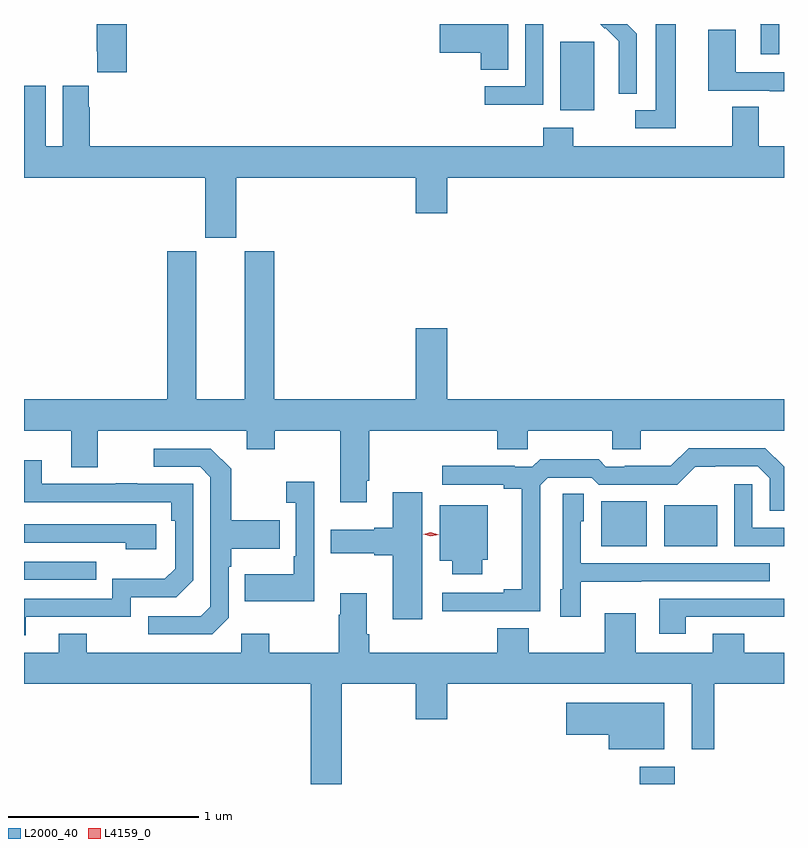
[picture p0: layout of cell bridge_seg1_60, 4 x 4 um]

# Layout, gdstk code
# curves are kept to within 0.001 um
import gdstk
lib = gdstk.Library(unit=1e-6, precision=1e-09)
def R(c, l, rs):  # rectangles x0, y0, x1, y1
    for r in rs: c.add(gdstk.rectangle(r[:2], r[2:], *l))
def P(c, l, *ps):  # polygons
    for p in ps: c.add(gdstk.Polygon(p, *l))
L2000_40 = (2000, 40)
L4159_0 = (4159, 0)

bridge_seg1_60 = lib.new_cell('bridge_seg1_60')
R(bridge_seg1_60, L2000_40, [(597.753,557.864,597.937,557.956), (594.513,558.939,594.893,559.035), (597.551,559.115,597.79,559.351), (597.884,559.115,598.162,559.33), (597.335,561.41,597.514,561.771)])
P(bridge_seg1_60, L2000_40, [(595.055,561.864),(594.895,561.864),(594.895,561.721),(594.899,561.721),(594.899,561.609),(595.055,561.609)],
  [(597.246,561.864),(597.15,561.864),(597.15,561.537),(596.937,561.537),(596.937,561.439),(597.246,561.439)],
  [(597.738,561.814),(597.688,561.864),(597.546,561.864),(597.57,561.84),(597.573,561.843),(597.644,561.773),(597.644,561.65),(597.642,561.65),(597.642,561.496),(597.738,561.496)],
  [(597.943,561.864),(597.839,561.864),(597.839,561.411),(597.729,561.411),(597.729,561.315),(597.943,561.315)],
  [(598.488,561.864),(598.388,561.864),(598.391,561.861),(598.391,561.705),(598.488,561.705)],
  [(597.061,561.864),(596.7,561.864),(596.7,561.713),(596.918,561.713),(596.918,561.622),(597.061,561.622)],
  [(598.513,561.609),(598.26,561.609),(598.26,561.833),(598.115,561.833),(598.115,561.513),(598.439,561.513),(598.439,561.509),(598.513,561.509)],
  [(595.63,561.056),(596.576,561.056),(596.576,560.868),(596.74,560.868),(596.74,561.056),(598.513,561.056),(598.513,561.22),(598.381,561.22),(598.381,561.428),(598.241,561.428),(598.241,561.22),(597.405,561.22),(597.405,561.319),(597.245,561.319),(597.245,561.22),(594.86,561.22),(594.86,561.425),(594.853,561.425),(594.853,561.538),(594.716,561.538),(594.716,561.22),(594.628,561.22),(594.628,561.538),(594.513,561.538),(594.513,561.056),(595.466,561.056),(595.466,560.739),(595.63,560.739)],
  [(596.317,559.459),(596.33,559.459),(596.33,559.724),(597.005,559.724),(597.005,559.626),(597.165,559.626),(597.165,559.724),(597.61,559.724),(597.61,559.626),(597.76,559.626),(597.76,559.724),(598.513,559.724),(598.513,559.888),(596.74,559.888),(596.74,560.263),(596.576,560.263),(596.576,559.888),(595.829,559.888),(595.829,560.667),(595.676,560.667),(595.676,559.888),(595.42,559.888),(595.42,560.667),(595.268,560.667),(595.268,559.888),(594.513,559.888),(594.513,559.724),(594.761,559.724),(594.761,559.53),(594.901,559.53),(594.901,559.724),(595.685,559.724),(595.685,559.625),(595.833,559.625),(595.833,559.724),(596.177,559.724),(596.177,559.347),(596.317,559.347)],
  [(597.231,559.437),(597.27,559.476),(597.501,559.476),(597.537,559.44),(597.951,559.44),(598.046,559.535),(598.374,559.536),(598.437,559.473),(598.437,559.302),(598.513,559.302),(598.513,559.534),(598.414,559.632),(598.011,559.632),(597.917,559.538),(597.676,559.538),(597.676,559.533),(597.576,559.533),(597.537,559.573),(597.229,559.573),(597.189,559.533),(597.095,559.533),(597.095,559.538),(596.715,559.538),(596.715,559.44),(597.038,559.44),(597.038,559.418),(597.134,559.418),(597.134,558.89),(597.038,558.89),(597.038,558.87),(596.715,558.87),(596.715,558.774),(597.231,558.774)],
  [(595.59,558.738),(595.59,559.007),(595.603,559.007),(595.603,559.103),(595.859,559.103),(595.859,559.251),(595.603,559.251),(595.603,559.523),(595.497,559.629),(595.197,559.629),(595.197,559.533),(595.44,559.533),(595.494,559.479),(595.494,558.798),(595.443,558.747),(595.167,558.747),(595.167,558.651),(595.503,558.651)],
  [(594.523,558.744),(595.074,558.744),(595.074,558.846),(595.314,558.846),(595.404,558.936),(595.404,559.443),(595.109,559.443),(595.109,559.448),(594.997,559.448),(594.997,559.443),(594.607,559.443),(594.607,559.567),(594.513,559.567),(594.513,559.348),(595.288,559.347),(595.288,559.25),(595.308,559.25),(595.308,558.996),(595.255,558.943),(594.978,558.943),(594.978,558.84),(594.513,558.84),(594.513,558.648),(594.523,558.648)],
  [(596.04,559.456),(595.893,559.456),(595.893,559.343),(595.944,559.343),(595.944,559.063),(595.932,559.063),(595.932,558.967),(595.675,558.967),(595.675,558.827),(596.04,558.827)],
  [(598.513,559.212),(598.347,559.212),(598.347,559.441),(598.251,559.441),(598.251,559.116),(598.513,559.116)],
  [(596.608,559.399),(596.453,559.399),(596.453,559.214),(596.357,559.214),(596.357,559.201),(596.127,559.201),(596.127,559.079),(596.357,559.079),(596.357,559.067),(596.453,559.067),(596.453,558.732),(596.608,558.732)],
  [(597.444,558.929),(597.761,558.929),(597.761,558.93),(598.439,558.93),(598.439,559.026),(597.444,559.026),(597.444,559.248),(597.46,559.248),(597.46,559.391),(597.348,559.391),(597.348,558.888),(597.335,558.888),(597.335,558.744),(597.444,558.744)],
  [(596.926,559.044),(596.953,559.044),(596.953,559.33),(596.702,559.33),(596.702,559.04),(596.768,559.04),(596.768,558.968),(596.926,558.968)],
  [(595.21,559.23),(594.513,559.23),(594.513,559.134),(595.049,559.134),(595.049,559.1),(595.21,559.1)],
  [(597.997,558.744),(598.427,558.744),(598.427,558.743),(598.513,558.743),(598.513,558.84),(597.857,558.84),(597.857,558.654),(597.997,558.654)],
  [(598.139,558.655),(598.139,558.556),(597.733,558.556),(597.733,558.763),(597.569,558.763),(597.569,558.556),(597.169,558.556),(597.169,558.685),(597.005,558.685),(597.005,558.556),(596.33,558.556),(596.33,558.652),(596.317,558.652),(596.317,558.868),(596.177,558.868),(596.177,558.755),(596.17,558.755),(596.17,558.556),(595.803,558.556),(595.803,558.655),(595.656,558.655),(595.656,558.556),(594.843,558.556),(594.843,558.655),(594.695,558.655),(594.695,558.556),(594.513,558.556),(594.513,558.392),(596.021,558.392),(596.021,557.864),(596.185,557.864),(596.185,558.392),(596.576,558.392),(596.576,558.204),(596.74,558.204),(596.74,558.392),(598.028,558.392),(598.028,558.048),(598.145,558.048),(598.145,558.392),(598.513,558.392),(598.513,558.556),(598.303,558.556),(598.303,558.655)],
  [(597.883,558.292),(597.366,558.292),(597.366,558.122),(597.59,558.122),(597.59,558.047),(597.883,558.047)])
P(bridge_seg1_60, L4159_0, [(596.654,559.168),(596.614,559.178),(596.614,559.178),(596.614,559.179),(596.655,559.188),(596.695,559.177),(596.695,559.177),(596.695,559.177)])

lib.write_gds('bridge_seg1_60.gds')
